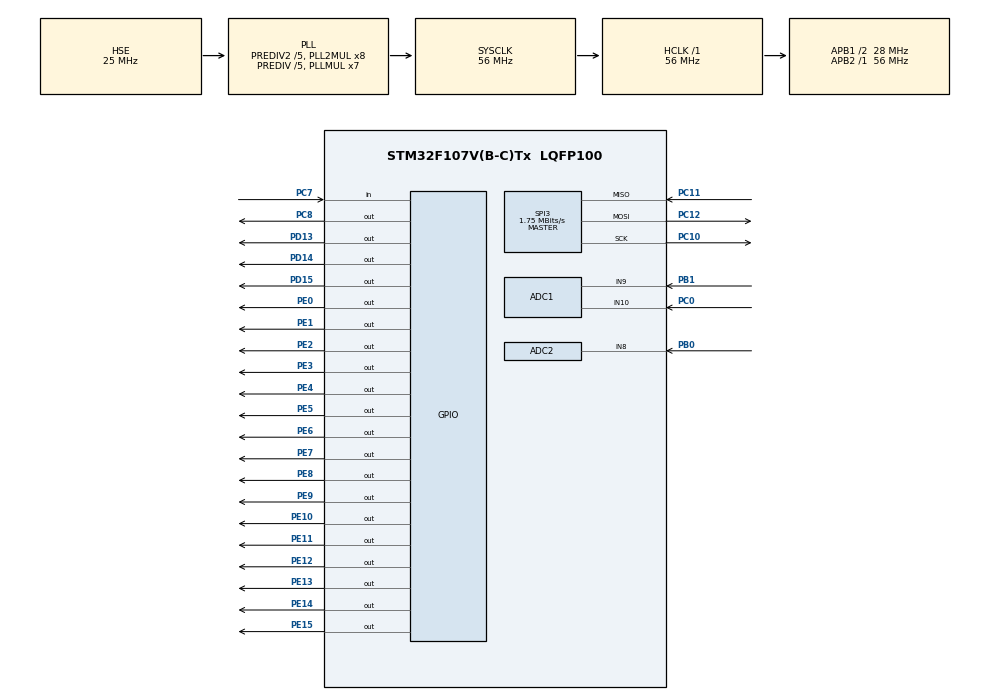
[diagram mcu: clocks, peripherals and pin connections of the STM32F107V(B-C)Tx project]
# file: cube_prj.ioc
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ADC1.Channel-0\#ChannelRegularConversion=ADC_CHANNEL_TEMPSENSOR
ADC1.Channel-1\#ChannelRegularConversion=ADC_CHANNEL_10
ADC1.ContinuousConvMode=ENABLE
ADC1.DataAlign=ADC_DATAALIGN_RIGHT
ADC1.DiscontinuousConvMode=DISABLE
ADC1.EnableAnalogWatchDog=false
ADC1.EnableRegularConversion=ENABLE
ADC1.ExternalTrigConvEdgeChoice=NONE
ADC1.InjNumberOfConversion=0
ADC1.NbrOfConversion=2
ADC1.NbrOfConversionFlag=1
ADC1.Rank-0\#ChannelRegularConversion=1
ADC1.Rank-1\#ChannelRegularConversion=2
ADC1.SamplingTime-0\#ChannelRegularConversion=ADC_SAMPLETIME_239CYCLES_5
ADC1.SamplingTime-1\#ChannelRegularConversion=ADC_SAMPLETIME_239CYCLES_5
ADC1.ScanConvMode=ADC_SCAN_ENABLE
ADC1.master=1
ADC2.Channel-12\#ChannelRegularConversion=ADC_CHANNEL_8
ADC2.ContinuousConvMode=ENABLE
ADC2.DataAlign=ADC_DATAALIGN_RIGHT
ADC2.DiscontinuousConvMode=DISABLE
ADC2.EnableAnalogWatchDog=false
ADC2.EnableRegularConversion=ENABLE
ADC2.ExternalTrigConvEdgeChoice=NONE
ADC2.InjNumberOfConversion=0
ADC2.NbrOfConversion=1
ADC2.NbrOfConversionFlag=1
ADC2.Rank-12\#ChannelRegularConversion=1
ADC2.SamplingTime-12\#ChannelRegularConversion=ADC_SAMPLETIME_239CYCLES_5
ADC2.ScanConvMode=ADC_SCAN_DISABLE
Dma.ADC1.0.Direction=DMA_PERIPH_TO_MEMORY
Dma.ADC1.0.Instance=DMA1_Channel1
Dma.ADC1.0.MemDataAlignment=DMA_MDATAALIGN_HALFWORD
Dma.ADC1.0.MemInc=DMA_MINC_ENABLE
Dma.ADC1.0.Mode=DMA_CIRCULAR
Dma.ADC1.0.PeriphDataAlignment=DMA_PDATAALIGN_HALFWORD
Dma.ADC1.0.PeriphInc=DMA_PINC_DISABLE
Dma.ADC1.0.Priority=DMA_PRIORITY_MEDIUM
Dma.Request0=ADC1
FREERTOS.Tasks01=defaultTask,0,128,StartDefaultTask,Default
Mcu.Family=STM32F1
Mcu.Name=STM32F107V(B-C)Tx
Mcu.Package=LQFP100
NVIC.ADC1_2_IRQn=true\:5\:0\:false\:false\:true\:true
NVIC.DMA1_Channel1_IRQn=true\:5\:0\:false\:false\:true\:true
NVIC.PriorityGroup=NVIC_PRIORITYGROUP_4
NVIC.RTC_Alarm_IRQn=true\:5\:0\:true\:false\:true\:true
NVIC.RTC_IRQn=true\:5\:0\:false\:false\:true\:true
NVIC.SPI3_IRQn=true\:5\:0\:false\:false\:true\:true
NVIC.TIM6_IRQn=true\:5\:0\:true\:false\:true\:true
NVIC.TIM7_IRQn=true\:0\:0\:false\:false\:true\:false
NVIC.TimeBase=TIM7_IRQn
NVIC.TimeBaseIP=TIM7
OSC_IN.Mode=HSE-External-Oscillator
OSC_IN.Signal=RCC_OSC_IN
OSC_OUT.Mode=HSE-External-Oscillator
OSC_OUT.Signal=RCC_OSC_OUT
PA13.Mode=Serial_Wire
PA13.Signal=SYS_JTMS-SWDIO
PA14.Mode=Serial_Wire
PA14.Signal=SYS_JTCK-SWCLK
PB0.Signal=ADCx_IN8
PB1.Signal=ADCx_IN9
PC0.Signal=ADCx_IN10
PC10.Mode=Full_Duplex_Master
PC10.Signal=SPI3_SCK
PC11.GPIO_PuPd=GPIO_PULLUP
PC11.Mode=Full_Duplex_Master
PC11.Signal=SPI3_MISO
PC12.Mode=Full_Duplex_Master
PC12.Signal=SPI3_MOSI
PC14-OSC32_IN.Mode=LSE-External-Oscillator
PC14-OSC32_IN.Signal=RCC_OSC32_IN
PC15-OSC32_OUT.Mode=LSE-External-Oscillator
PC15-OSC32_OUT.Signal=RCC_OSC32_OUT
PC7.Signal=GPIO_Input
PC8.GPIO_Speed=GPIO_SPEED_FREQ_HIGH
PC8.Signal=GPIO_Output
PD13.Signal=GPIO_Output
PD14.Signal=GPIO_Output
PD15.Signal=GPIO_Output
PE0.GPIO_Speed=GPIO_SPEED_FREQ_HIGH
PE0.Signal=GPIO_Output
PE1.GPIO_Speed=GPIO_SPEED_FREQ_HIGH
PE1.Signal=GPIO_Output
PE10.GPIO_Speed=GPIO_SPEED_FREQ_HIGH
PE10.Signal=GPIO_Output
PE11.GPIO_Speed=GPIO_SPEED_FREQ_HIGH
PE11.Signal=GPIO_Output
PE12.GPIO_Speed=GPIO_SPEED_FREQ_HIGH
PE12.Signal=GPIO_Output
PE13.GPIO_Speed=GPIO_SPEED_FREQ_HIGH
PE13.Signal=GPIO_Output
PE14.GPIO_Speed=GPIO_SPEED_FREQ_HIGH
PE14.Signal=GPIO_Output
PE15.GPIO_Speed=GPIO_SPEED_FREQ_HIGH
PE15.Signal=GPIO_Output
PE2.GPIO_Speed=GPIO_SPEED_FREQ_HIGH
PE2.Signal=GPIO_Output
PE3.GPIO_Speed=GPIO_SPEED_FREQ_HIGH
PE3.Signal=GPIO_Output
PE4.GPIO_Speed=GPIO_SPEED_FREQ_HIGH
PE4.Signal=GPIO_Output
PE5.GPIO_Speed=GPIO_SPEED_FREQ_HIGH
PE5.Signal=GPIO_Output
PE6.GPIO_Speed=GPIO_SPEED_FREQ_HIGH
PE6.Signal=GPIO_Output
PE7.GPIO_Speed=GPIO_SPEED_FREQ_HIGH
PE7.Signal=GPIO_Output
PE8.GPIO_Speed=GPIO_SPEED_FREQ_HIGH
PE8.Signal=GPIO_Output
PE9.GPIO_Speed=GPIO_SPEED_FREQ_HIGH
PE9.Signal=GPIO_Output
ProjectManager.HeapSize=0x400
ProjectManager.StackSize=0x800
ProjectManager.TargetToolchain=MDK-ARM V5
RCC.ADCPresc=RCC_ADCPCLK2_DIV4
RCC.AHBFreq_Value=56000000
RCC.APB1CLKDivider=RCC_HCLK_DIV2
RCC.APB1Freq_Value=28000000
RCC.APB1TimFreq_Value=56000000
RCC.APB2Freq_Value=56000000
RCC.APB2TimFreq_Value=56000000
RCC.HCLKFreq_Value=56000000
RCC.HSEDivPLL=RCC_HSE_PREDIV_DIV5
RCC.HSE_VALUE=25000000
RCC.HSIState=RCC_HSI_ON
RCC.PLLMUL=RCC_PLL_MUL7
RCC.PLLSourceVirtual=RCC_PLLSOURCE_HSE
RCC.Prediv1Source=RCC_PREDIV1_SOURCE_PLL2
RCC.Prediv2=RCC_HSE_PREDIV2_DIV5
RCC.SYSCLKFreq_VALUE=56000000
RCC.SYSCLKSource=RCC_SYSCLKSOURCE_PLLCLK
RCC.USBFreq_Value=37333333.333333336
RTC.AutoPrediv=RTC_AUTO_1_SECOND
RTC.Date=22
RTC.Format=RTC_FORMAT_BCD
RTC.Hours=2
RTC.Minutes=57
RTC.Month=RTC_MONTH_JULY
RTC.Seconds=0
RTC.WeekDay=RTC_WEEKDAY_SATURDAY
RTC.Year=16
SH.ADCx_IN10.0=ADC1_IN10,IN10
SH.ADCx_IN8.0=ADC2_IN8,IN8
SH.ADCx_IN9.0=ADC1_IN9,IN9
SPI3.BaudRatePrescaler=SPI_BAUDRATEPRESCALER_16
SPI3.CLKPhase=SPI_PHASE_2EDGE
SPI3.CLKPolarity=SPI_POLARITY_HIGH
SPI3.CRCCalculation=SPI_CRCCALCULATION_DISABLE
SPI3.CalculateBaudRate=1.75 MBits/s
SPI3.Mode=SPI_MODE_MASTER
TIM6.Period=2
TIM6.Prescaler=35999
TIM6.TIM_MasterOutputTrigger=TIM_TRGO_UPDATE
VP_ADC1_TempSens_Input.Mode=IN-TempSens
VP_CRC_VS_CRC.Mode=CRC_Activate
VP_FREERTOS_VS_ENABLE.Mode=Enabled
VP_RTC_No_RTC_Output.Mode=RTC_OUT_NO
VP_SYS_VS_tim7.Mode=TIM7
VP_TIM6_VS_ClockSourceINT.Mode=Enable_Timer
board=cube_prj

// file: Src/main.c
/**
  ******************************************************************************
  * File Name          : main.c
  * Description        : Main program body
  ******************************************************************************
  *
  * COPYRIGHT(c) 2016 STMicroelectronics
  *
  * Redistribution and use in source and binary forms, with or without modification,
  * are permitted provided that the following conditions are met:
  *   1. Redistributions of source code must retain the above copyright notice,
  *      this list of conditions and the following disclaimer.
  *   2. Redistributions in binary form must reproduce the above copyright notice,
  *      this list of conditions and the following disclaimer in the documentation
  *      and/or other materials provided with the distribution.
  *   3. Neither the name of STMicroelectronics nor the names of its contributors
  *      may be used to endorse or promote products derived from this software
  *      without specific prior written permission.
  *
  * THIS SOFTWARE IS PROVIDED BY THE COPYRIGHT HOLDERS AND CONTRIBUTORS "AS IS"
  * AND ANY EXPRESS OR IMPLIED WARRANTIES, INCLUDING, BUT NOT LIMITED TO, THE
  * IMPLIED WARRANTIES OF MERCHANTABILITY AND FITNESS FOR A PARTICULAR PURPOSE ARE
  * DISCLAIMED. IN NO EVENT SHALL THE COPYRIGHT HOLDER OR CONTRIBUTORS BE LIABLE
  * FOR ANY DIRECT, INDIRECT, INCIDENTAL, SPECIAL, EXEMPLARY, OR CONSEQUENTIAL
  * DAMAGES (INCLUDING, BUT NOT LIMITED TO, PROCUREMENT OF SUBSTITUTE GOODS OR
  * SERVICES; LOSS OF USE, DATA, OR PROFITS; OR BUSINESS INTERRUPTION) HOWEVER
  * CAUSED AND ON ANY THEORY OF LIABILITY, WHETHER IN CONTRACT, STRICT LIABILITY,
  * OR TORT (INCLUDING NEGLIGENCE OR OTHERWISE) ARISING IN ANY WAY OUT OF THE USE
  * OF THIS SOFTWARE, EVEN IF ADVISED OF THE POSSIBILITY OF SUCH DAMAGE.
  *
  ******************************************************************************
  */
#include "stm32f1xx_hal.h"
#include "cmsis_os.h"
#include "adc.h"
#include "crc.h"
#include "dma.h"
#include "rtc.h"
#include "spi.h"
#include "tim.h"
#include "gpio.h"

/* USER CODE BEGIN Includes */
/** STemwin Includes */
#include "gui.h"
#include "guidemo.h"
/** user drivers  Includes */
#include "touch.h"
#include "delay.h"
//#include "led.h"
//#include "key.h"
//#include "exti_dup.h"
//#include "tim_dup.h"
#include "oxygen.h"
/** user interface  Includes */
#include "start_window.h"
#include "adjust_time_window.h"
#include "measure_window.h"
#include "sys_info_window.h"
#include "ui_drivers.h"
#include "adc_app.h"

/* USER CODE END Includes */

/* USER CODE BEGIN PV */
/* Private variables ---------------------------------------------------------*/

/* USER CODE END PV */

void SystemClock_Config(void);
void Error_Handler(void);
void MX_FREERTOS_Init(void);

/* USER CODE BEGIN PFP */
/* Private function prototypes -----------------------------------------------*/
void touch_calibrate(void);
/* USER CODE END PFP */

/* USER CODE BEGIN 0 */
extern GUI_CONST_STORAGE GUI_FONT GUI_FontMicrosoftYaHeiMono28;
/* USER CODE END 0 */

int main(void)
{

  /* USER CODE BEGIN 1 */
//    uint16_t i = 0;

  /* USER CODE END 1 */

  /* MCU Configuration----------------------------------------------------------*/

  /* Reset of all peripherals, Initializes the Flash interface and the Systick. */
  HAL_Init();

  /* Configure the system clock */
  SystemClock_Config();

  /* Initialize all configured peripherals */
  MX_GPIO_Init();
  MX_DMA_Init();
  MX_CRC_Init();
  MX_SPI3_Init();
  MX_TIM6_Init();
  MX_RTC_Init();
  MX_ADC1_Init();
  MX_ADC2_Init();

  /* USER CODE BEGIN 2 */
    ADC_start_convert();
    ADC2_start_IT();
    HAL_TIM_Base_Start_IT(&htim6);

    user_interface_config();

    toggle_interface(NO_HWIN, measure_window_info, TIMER_ENABLE, TIMER_PERIOD);

//    display_start_window();

  /* USER CODE END 2 */

  /* Call init function for freertos objects (in freertos.c) */
  MX_FREERTOS_Init();

  /* Start scheduler */
  osKernelStart();

  /* We should never get here as control is now taken by the scheduler */

  /* Infinite loop */
    while (1)
    {

  /* USER CODE BEGIN 3 */
        GUI_Delay(50);

    }
  /* USER CODE END 3 */

}

/** System Clock Configuration
*/
void SystemClock_Config(void)
{

  RCC_OscInitTypeDef RCC_OscInitStruct;
  RCC_ClkInitTypeDef RCC_ClkInitStruct;
  RCC_PeriphCLKInitTypeDef PeriphClkInit;

  RCC_OscInitStruct.OscillatorType = RCC_OSCILLATORTYPE_LSI|RCC_OSCILLATORTYPE_HSE;
  RCC_OscInitStruct.HSEState = RCC_HSE_ON;
  RCC_OscInitStruct.HSEPredivValue = RCC_HSE_PREDIV_DIV5;
  RCC_OscInitStruct.LSIState = RCC_LSI_ON;
  RCC_OscInitStruct.Prediv1Source = RCC_PREDIV1_SOURCE_PLL2;
  RCC_OscInitStruct.PLL.PLLState = RCC_PLL_ON;
  RCC_OscInitStruct.PLL.PLLSource = RCC_PLLSOURCE_HSE;
  RCC_OscInitStruct.PLL.PLLMUL = RCC_PLL_MUL7;
  RCC_OscInitStruct.PLL2.PLL2State = RCC_PLL2_ON;
  RCC_OscInitStruct.PLL2.PLL2MUL = RCC_PLL2_MUL8;
  RCC_OscInitStruct.PLL2.HSEPrediv2Value = RCC_HSE_PREDIV2_DIV5;
  if (HAL_RCC_OscConfig(&RCC_OscInitStruct) != HAL_OK)
  {
    Error_Handler();
  }

  RCC_ClkInitStruct.ClockType = RCC_CLOCKTYPE_HCLK|RCC_CLOCKTYPE_SYSCLK
                              |RCC_CLOCKTYPE_PCLK1|RCC_CLOCKTYPE_PCLK2;
  RCC_ClkInitStruct.SYSCLKSource = RCC_SYSCLKSOURCE_PLLCLK;
  RCC_ClkInitStruct.AHBCLKDivider = RCC_SYSCLK_DIV1;
  RCC_ClkInitStruct.APB1CLKDivider = RCC_HCLK_DIV2;
  RCC_ClkInitStruct.APB2CLKDivider = RCC_HCLK_DIV1;
  if (HAL_RCC_ClockConfig(&RCC_ClkInitStruct, FLASH_LATENCY_2) != HAL_OK)
  {
    Error_Handler();
  }

  PeriphClkInit.PeriphClockSelection = RCC_PERIPHCLK_RTC|RCC_PERIPHCLK_ADC;
  PeriphClkInit.RTCClockSelection = RCC_RTCCLKSOURCE_LSI;
  PeriphClkInit.AdcClockSelection = RCC_ADCPCLK2_DIV4;
  if (HAL_RCCEx_PeriphCLKConfig(&PeriphClkInit) != HAL_OK)
  {
    Error_Handler();
  }

  HAL_SYSTICK_Config(HAL_RCC_GetHCLKFreq()/1000);

  HAL_SYSTICK_CLKSourceConfig(SYSTICK_CLKSOURCE_HCLK);

  __HAL_RCC_PLLI2S_ENABLE();

  /* SysTick_IRQn interrupt configuration */
  HAL_NVIC_SetPriority(SysTick_IRQn, 15, 0);
}

void HAL_TIM_PeriodElapsedCallback(TIM_HandleTypeDef *htim)
{
  if (htim->Instance == TIM7) {
    HAL_IncTick();
  }
}

void Error_Handler(void)
{
  while(1)
  {
  }
}

/************************ (C) COPYRIGHT STMicroelectronics *****END OF FILE****/
